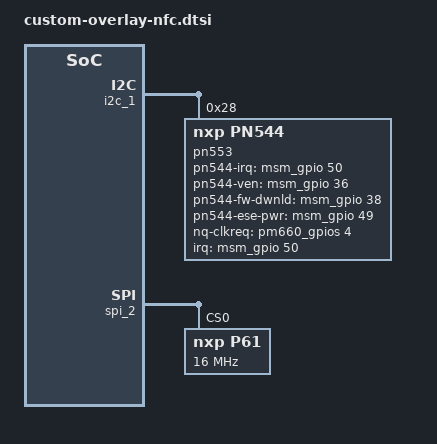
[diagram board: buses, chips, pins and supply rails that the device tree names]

&i2c_1 {
	pn553@28 {
		compatible = "nxp,pn544";
		reg = <0x28>;
		nxp,pn544-irq = <&msm_gpio 50 0x00>;
		nxp,pn544-ven = <&msm_gpio 36 0x00>;
		nxp,pn544-fw-dwnld = <&msm_gpio 38 0x00>;
		nxp,pn544-ese-pwr = <&msm_gpio 49 0x00>;
		nfc,nq-clkreq = <&pm660_gpios 4 0x00>;
		nfc,clk-src = "BBCLK3";
//		nxp,pn544-iso-pwr-rst = <>;
		interrupt-parent = <&msm_gpio>;
		interrupts = <50 0>;
		interrupt-names = "nfc_irq";
		pinctrl-names = "nfc_active","nfc_suspend","default";
		pinctrl-0 = <&nfcw_int_active &nfcw_disable_active>;
		pinctrl-1 = <&nfcw_int_suspend &nfcw_disable_suspend>;
		pinctrl-2 = <&nfc_clk_default>;
		clocks = <&clock_rpm clk_bb_clk3_pin>;
		clock-names = "ref_clk";
	};
	/delete-node/ nq@28;
};

&spi_2 {
	status = "ok";
	p61 {
		compatible = "nxp,p61";
		reg = <0x0>;
		spi-max-frequency = <16000000>;
	};
};

